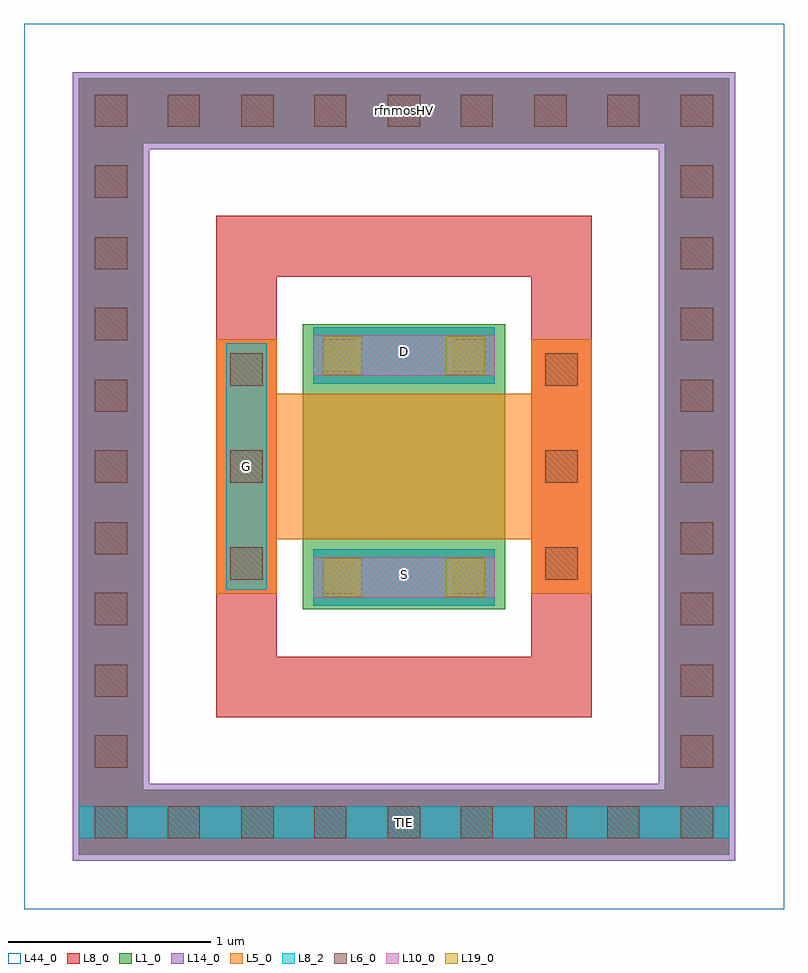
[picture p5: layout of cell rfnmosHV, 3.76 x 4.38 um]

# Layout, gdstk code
import gdstk
lib = gdstk.Library(unit=1e-6, precision=1e-09)
def R(c, l, rs):  # rectangles x0, y0, x1, y1
    for r in rs: c.add(gdstk.rectangle(r[:2], r[2:], *l))
def P(c, l, *ps):  # polygons
    for p in ps: c.add(gdstk.Polygon(p, *l))
L1_0 = (1, 0)
L5_0 = (5, 0)
L6_0 = (6, 0)
L8_0 = (8, 0)
L8_2 = (8, 2)
L10_0 = (10, 0)
L14_0 = (14, 0)
L19_0 = (19, 0)
L44_0 = (44, 0)

rfnmoshv = lib.new_cell('rfnmosHV')
R(rfnmoshv, L1_0, [(1.38,1.485,2.38,2.895), (1.38,1.485,2.38,2.895)])
P(rfnmoshv, L1_0, [(0.27,0.27),(0.27,4.11),(3.17,4.11),(3.17,3.79),(0.59,3.79),(0.59,0.59),(3.17,0.59),(3.17,4.11),(3.49,4.11),(3.49,0.27)],
  [(0.27,0.27),(0.27,4.11),(3.17,4.11),(3.17,3.79),(0.59,3.79),(0.59,0.59),(3.17,0.59),(3.17,4.11),(3.49,4.11),(3.49,0.27)])
P(rfnmoshv, L5_0, [(0.95,1.56),(0.95,2.82),(1.25,2.82),(1.25,2.55),(2.51,2.55),(2.51,2.82),(2.81,2.82),(2.81,1.56),(2.51,1.56),(2.51,1.83),(1.25,1.83),(1.25,1.56)],
  [(0.95,1.56),(0.95,2.82),(1.25,2.82),(1.25,2.55),(2.51,2.55),(2.51,2.82),(2.81,2.82),(2.81,1.56),(2.51,1.56),(2.51,1.83),(1.25,1.83),(1.25,1.56)])
R(rfnmoshv, L6_0, [(0.35,0.35,0.51,0.51), (0.35,0.35,0.51,0.51), (0.71,0.35,0.87,0.51), (0.71,0.35,0.87,0.51), (1.075,0.35,1.235,0.51), (1.075,0.35,1.235,0.51), (1.435,0.35,1.595,0.51), (1.435,0.35,1.595,0.51), (1.8,0.35,1.96,0.51), (1.8,0.35,1.96,0.51), (2.16,0.35,2.32,0.51), (2.16,0.35,2.32,0.51), (2.525,0.35,2.685,0.51), (2.525,0.35,2.685,0.51), (2.885,0.35,3.045,0.51), (2.885,0.35,3.045,0.51), (3.25,0.35,3.41,0.51), (3.25,0.35,3.41,0.51), (0.35,0.7,0.51,0.86), (0.35,0.7,0.51,0.86), (3.25,0.7,3.41,0.86), (3.25,0.7,3.41,0.86), (0.35,1.05,0.51,1.21), (0.35,1.05,0.51,1.21), (3.25,1.05,3.41,1.21), (3.25,1.05,3.41,1.21), (0.35,1.405,0.51,1.565), (0.35,1.405,0.51,1.565), (3.25,1.405,3.41,1.565), (3.25,1.405,3.41,1.565), (1.48,1.56,1.64,1.72), (1.48,1.56,1.64,1.72), (2.12,1.56,2.28,1.72), (2.12,1.56,2.28,1.72), (1.02,1.63,1.18,1.79), (1.02,1.63,1.18,1.79), (2.58,1.63,2.74,1.79), (2.58,1.63,2.74,1.79), (0.35,1.755,0.51,1.915), (0.35,1.755,0.51,1.915), (3.25,1.755,3.41,1.915), (3.25,1.755,3.41,1.915), (0.35,2.11,0.51,2.27), (0.35,2.11,0.51,2.27), (1.02,2.11,1.18,2.27), (1.02,2.11,1.18,2.27), (2.58,2.11,2.74,2.27), (2.58,2.11,2.74,2.27), (3.25,2.11,3.41,2.27), (3.25,2.11,3.41,2.27), (0.35,2.46,0.51,2.62), (0.35,2.46,0.51,2.62), (3.25,2.46,3.41,2.62), (3.25,2.46,3.41,2.62), (1.02,2.59,1.18,2.75), (1.02,2.59,1.18,2.75), (2.58,2.59,2.74,2.75), (2.58,2.59,2.74,2.75), (1.48,2.66,1.64,2.82), (1.48,2.66,1.64,2.82), (2.12,2.66,2.28,2.82), (2.12,2.66,2.28,2.82), (0.35,2.815,0.51,2.975), (0.35,2.815,0.51,2.975), (3.25,2.815,3.41,2.975), (3.25,2.815,3.41,2.975), (0.35,3.165,0.51,3.325), (0.35,3.165,0.51,3.325), (3.25,3.165,3.41,3.325), (3.25,3.165,3.41,3.325), (0.35,3.52,0.51,3.68), (0.35,3.52,0.51,3.68), (3.25,3.52,3.41,3.68), (3.25,3.52,3.41,3.68), (0.35,3.87,0.51,4.03), (0.35,3.87,0.51,4.03), (0.71,3.87,0.87,4.03), (0.71,3.87,0.87,4.03), (1.075,3.87,1.235,4.03), (1.075,3.87,1.235,4.03), (1.435,3.87,1.595,4.03), (1.435,3.87,1.595,4.03), (1.8,3.87,1.96,4.03), (1.8,3.87,1.96,4.03), (2.16,3.87,2.32,4.03), (2.16,3.87,2.32,4.03), (2.525,3.87,2.685,4.03), (2.525,3.87,2.685,4.03), (2.885,3.87,3.045,4.03), (2.885,3.87,3.045,4.03), (3.25,3.87,3.41,4.03), (3.25,3.87,3.41,4.03)])
R(rfnmoshv, L8_0, [(1.43,1.5,2.33,1.78), (1.43,1.5,2.33,1.78), (1,1.58,1.2,2.8), (1,1.58,1.2,2.8), (2.56,1.58,2.76,2.8), (2.56,1.58,2.76,2.8), (1.43,2.6,2.33,2.88), (1.43,2.6,2.33,2.88)])
P(rfnmoshv, L8_0, [(0.27,0.27),(0.27,4.11),(3.17,4.11),(3.17,3.79),(0.59,3.79),(0.59,0.59),(3.17,0.59),(3.17,4.11),(3.49,4.11),(3.49,0.27)],
  [(0.95,0.95),(0.95,3.43),(2.51,3.43),(2.51,3.13),(1.25,3.13),(1.25,1.25),(2.51,1.25),(2.51,3.43),(2.81,3.43),(2.81,0.95)],
  [(0.27,0.27),(0.27,4.11),(3.17,4.11),(3.17,3.79),(0.59,3.79),(0.59,0.59),(3.17,0.59),(3.17,4.11),(3.49,4.11),(3.49,0.27)],
  [(0.95,0.95),(0.95,3.43),(2.51,3.43),(2.51,3.13),(1.25,3.13),(1.25,1.25),(2.51,1.25),(2.51,3.43),(2.81,3.43),(2.81,0.95)])
R(rfnmoshv, L8_2, [(0.27,0.35,3.49,0.51), (0.27,0.35,3.49,0.51), (1.43,1.5,2.33,1.78), (1.43,1.5,2.33,1.78), (1,1.58,1.2,2.8), (1,1.58,1.2,2.8), (1.43,2.6,2.33,2.88), (1.43,2.6,2.33,2.88)])
R(rfnmoshv, L10_0, [(1.43,1.54,2.33,1.74), (1.43,1.54,2.33,1.74), (1.43,2.64,2.33,2.84), (1.43,2.64,2.33,2.84)])
P(rfnmoshv, L14_0, [(0.24,0.24),(0.24,4.14),(3.14,4.14),(3.14,3.76),(0.62,3.76),(0.62,0.62),(3.14,0.62),(3.14,4.14),(3.52,4.14),(3.52,0.24)],
  [(0.24,0.24),(0.24,4.14),(3.14,4.14),(3.14,3.76),(0.62,3.76),(0.62,0.62),(3.14,0.62),(3.14,4.14),(3.52,4.14),(3.52,0.24)])
R(rfnmoshv, L19_0, [(1.48,1.545,1.67,1.735), (1.48,1.545,1.67,1.735), (2.09,1.545,2.28,1.735), (2.09,1.545,2.28,1.735), (1.48,2.645,1.67,2.835), (1.48,2.645,1.67,2.835), (2.09,2.645,2.28,2.835), (2.09,2.645,2.28,2.835)])
R(rfnmoshv, L44_0, [(0,0,3.76,4.38), (0,0,3.76,4.38)])
rfnmoshv.add(gdstk.Label('TIE', (1.88,0.43), layer=63, texttype=0))
rfnmoshv.add(gdstk.Label('rfnmosHV', (1.88,3.95), layer=63, texttype=0))
rfnmoshv.add(gdstk.Label('G', (1.1,2.19), layer=63, texttype=0))
rfnmoshv.add(gdstk.Label('D', (1.88,2.758), layer=63, texttype=0))
rfnmoshv.add(gdstk.Label('S', (1.88,1.658), layer=63, texttype=0))
rfnmoshv.add(gdstk.Label('TIE', (1.88,0.43), layer=63, texttype=0))
rfnmoshv.add(gdstk.Label('rfnmosHV', (1.88,3.95), layer=63, texttype=0))
rfnmoshv.add(gdstk.Label('G', (1.1,2.19), layer=63, texttype=0))
rfnmoshv.add(gdstk.Label('D', (1.88,2.758), layer=63, texttype=0))
rfnmoshv.add(gdstk.Label('S', (1.88,1.658), layer=63, texttype=0))

lib.write_gds('rfnmosHV.gds')
